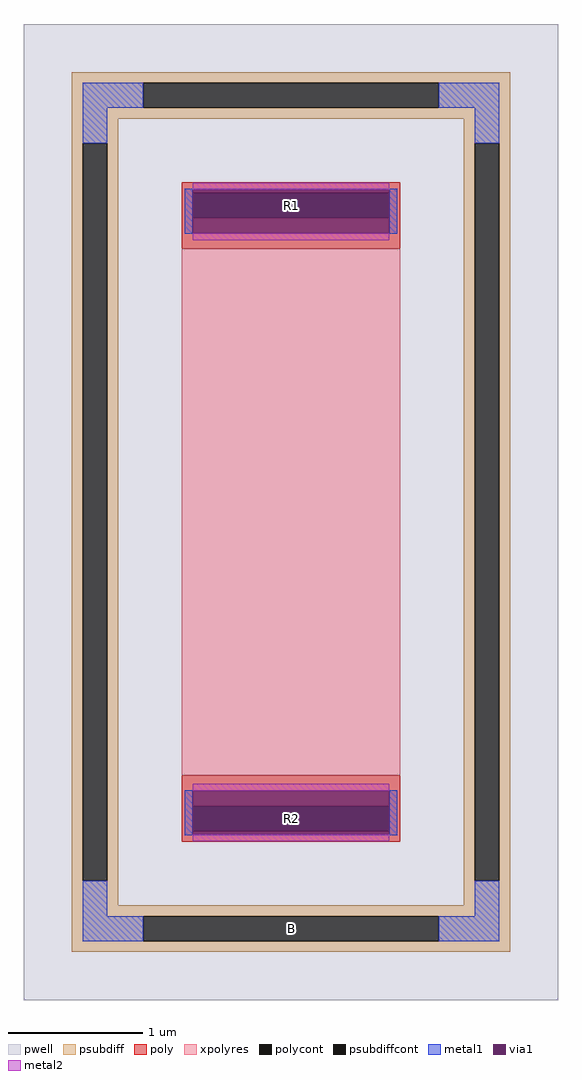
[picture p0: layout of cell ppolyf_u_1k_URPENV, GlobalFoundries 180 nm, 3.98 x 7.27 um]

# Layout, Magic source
magic
tech gf180mcuD
magscale 3 26
<< pwell >>
rect -345 -630 345 630
<< psubdiff >>
rect -283 554 283 568
rect -283 522 -191 554
rect 191 522 283 554
rect -283 508 283 522
rect -283 476 -223 508
rect -283 -476 -269 476
rect -237 -476 -223 476
rect 223 476 283 508
rect -283 -508 -223 -476
rect 223 -476 237 476
rect 269 -476 283 476
rect 223 -508 283 -476
rect -283 -522 283 -508
rect -283 -554 -191 -522
rect 191 -554 283 -522
rect -283 -568 283 -554
<< psubdiffcont >>
rect -191 522 191 554
rect -269 -476 -237 476
rect 237 -476 269 476
rect -191 -554 191 -522
<< poly >>
rect -141 412 141 426
rect -141 380 -127 412
rect 127 380 141 412
rect -141 340 141 380
rect -141 -380 141 -340
rect -141 -412 -127 -380
rect 127 -412 141 -380
rect -141 -426 141 -412
<< polycont >>
rect -127 380 127 412
rect -127 -412 127 -380
<< xpolyres >>
rect -141 -340 141 340
<< metal1 >>
rect -269 522 -191 554
rect 191 522 269 554
rect -269 476 -237 522
rect 237 476 269 522
rect -137 416 137 417
rect -137 360 -127 416
rect 127 360 137 416
rect -137 359 137 360
rect -137 -360 137 -359
rect -137 -416 -127 -360
rect 127 -416 137 -360
rect -137 -417 137 -416
rect -269 -522 -237 -476
rect 237 -522 269 -476
rect -269 -554 -191 -522
rect 191 -554 269 -522
<< via1 >>
rect -127 412 127 416
rect -127 380 127 412
rect -127 360 127 380
rect -127 -380 127 -360
rect -127 -412 127 -380
rect -127 -416 127 -412
<< metal2 >>
rect -127 416 127 425
rect -127 351 127 360
rect -127 -360 127 -351
rect -127 -425 127 -416
<< labels >>
rlabel psubdiffcont 0 -538 0 -538 0 B
port 46 nsew
rlabel polycont 0 396 0 396 0 R1
port 47 nsew
rlabel polycont 0 -396 0 -396 0 R2
port 48 nsew
<< properties >>
string FIXED_BBOX -253 -538 253 538
string gencell ppolyf_u_1k
string library gf180mcu
string parameters w 1.41 l 3.4 m 1 nx 1 wmin 0.50 lmin 0.50 class resistor rho 1360 val 3.279k dummy 0 dw 0.0 term 0.0 sterm 0.0 caplen 0 bar 1 guard 1 glc 1 grc 1 gtc 1 gbc 1 snake 0 full_metal 1 n_guard 0 hv_guard 0 vias 1 viagb 0 viagt 0 viagl 0 viagr 0 doports 1 b 0
<< end >>
